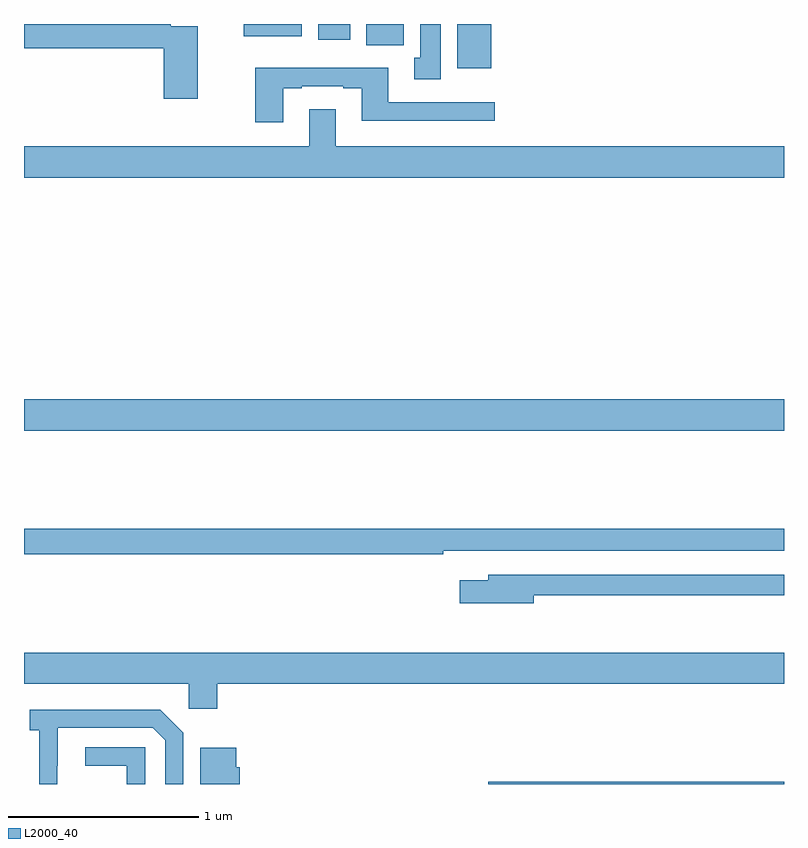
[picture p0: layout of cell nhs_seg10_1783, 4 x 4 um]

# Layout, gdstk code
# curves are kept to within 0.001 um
import gdstk
lib = gdstk.Library(unit=1e-6, precision=1e-09)
def R(c, l, rs):  # rectangles x0, y0, x1, y1
    for r in rs: c.add(gdstk.rectangle(r[:2], r[2:], *l))
def P(c, l, *ps):  # polygons
    for p in ps: c.add(gdstk.Polygon(p, *l))
L2000_40 = (2000, 40)

nhs_seg10_1783 = lib.new_cell('nhs_seg10_1783')
R(nhs_seg10_1783, L2000_40, [(207.443,1254.5,209,1254.512), (205,1256.36,209,1256.524), (207.281,1258.268,207.46,1258.5), (206.801,1258.388,206.998,1258.5), (206.549,1258.416,206.716,1258.5), (206.156,1258.436,206.461,1258.5)])
P(nhs_seg10_1783, L2000_40, [(205.914,1258.488),(205.772,1258.488),(205.772,1258.5),(205,1258.5),(205,1258.372),(205.736,1258.372),(205.736,1258.107),(205.914,1258.107)],
  [(207.193,1258.5),(207.086,1258.5),(207.086,1258.322),(207.053,1258.322),(207.053,1258.209),(207.193,1258.209)],
  [(206.365,1258.161),(206.461,1258.161),(206.461,1258.173),(206.681,1258.173),(206.681,1258.161),(206.777,1258.161),(206.777,1257.992),(207.478,1257.992),(207.478,1258.089),(206.917,1258.089),(206.917,1258.27),(206.218,1258.27),(206.218,1257.984),(206.365,1257.984)],
  [(209,1257.856),(206.641,1257.856),(206.641,1258.051),(206.501,1258.051),(206.501,1257.856),(205,1257.856),(205,1257.692),(209,1257.692)],
  [(207.206,1255.728),(209,1255.728),(209,1255.844),(205,1255.844),(205,1255.708),(207.206,1255.708)],
  [(207.682,1255.494),(209,1255.494),(209,1255.602),(207.443,1255.602),(207.443,1255.573),(207.294,1255.573),(207.294,1255.451),(207.682,1255.451)],
  [(206.018,1255.028),(209,1255.028),(209,1255.192),(205,1255.192),(205,1255.028),(205.866,1255.028),(205.866,1254.897),(206.018,1254.897)],
  [(205.176,1254.595),(205.177,1254.795),(205.677,1254.795),(205.743,1254.729),(205.743,1254.5),(205.839,1254.5),(205.839,1254.771),(205.718,1254.892),(205.029,1254.892),(205.029,1254.782),(205.08,1254.782),(205.08,1254.5),(205.176,1254.5)],
  [(205.638,1254.693),(205.323,1254.693),(205.323,1254.597),(205.542,1254.597),(205.542,1254.5),(205.638,1254.5)],
  [(206.135,1254.587),(206.116,1254.587),(206.116,1254.691),(205.928,1254.691),(205.928,1254.5),(206.135,1254.5)])

lib.write_gds('nhs_seg10_1783.gds')
